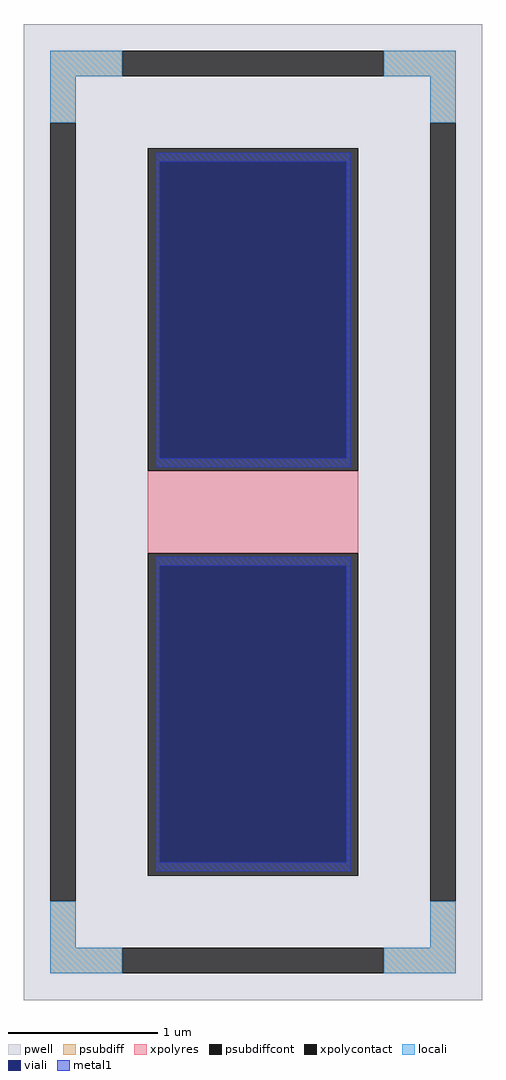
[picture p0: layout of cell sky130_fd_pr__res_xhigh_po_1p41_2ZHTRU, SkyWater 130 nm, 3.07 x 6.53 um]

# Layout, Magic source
magic
tech sky130A
magscale 1 2
<< pwell >>
rect -307 -653 307 653
<< psubdiff >>
rect -271 583 -175 617
rect 175 583 271 617
rect -271 521 -237 583
rect 237 521 271 583
rect -271 -583 -237 -521
rect 237 -583 271 -521
rect -271 -617 -175 -583
rect 175 -617 271 -583
<< psubdiffcont >>
rect -175 583 175 617
rect -271 -521 -237 521
rect 237 -521 271 521
rect -175 -617 175 -583
<< xpolycontact >>
rect -141 55 141 487
rect -141 -487 141 -55
<< xpolyres >>
rect -141 -55 141 55
<< locali >>
rect -271 583 -175 617
rect 175 583 271 617
rect -271 521 -237 583
rect 237 521 271 583
rect -271 -583 -237 -521
rect 237 -583 271 -521
rect -271 -617 -175 -583
rect 175 -617 271 -583
<< viali >>
rect -125 72 125 469
rect -125 -469 125 -72
<< metal1 >>
rect -131 469 131 481
rect -131 72 -125 469
rect 125 72 131 469
rect -131 60 131 72
rect -131 -72 131 -60
rect -131 -469 -125 -72
rect 125 -469 131 -72
rect -131 -481 131 -469
<< properties >>
string FIXED_BBOX -254 -600 254 600
string gencell sky130_fd_pr__res_xhigh_po_1p41
string library sky130
string parameters w 1.410 l 0.707 m 1 nx 1 wmin 1.410 lmin 0.50 rho 2000 val 1.269k dummy 0 dw 0.0 term 188.2 sterm 0.0 caplen 0 wmax 1.410 guard 1 glc 1 grc 1 gtc 1 gbc 1 compatible {sky130_fd_pr__res_xhigh_po_0p35  sky130_fd_pr__res_xhigh_po_0p69 sky130_fd_pr__res_xhigh_po_1p41  sky130_fd_pr__res_xhigh_po_2p85 sky130_fd_pr__res_xhigh_po_5p73} snake 0 full_metal 1 n_guard 0 hv_guard 0 vias 1 viagb 0 viagt 0 viagl 0 viagr 0
<< end >>
